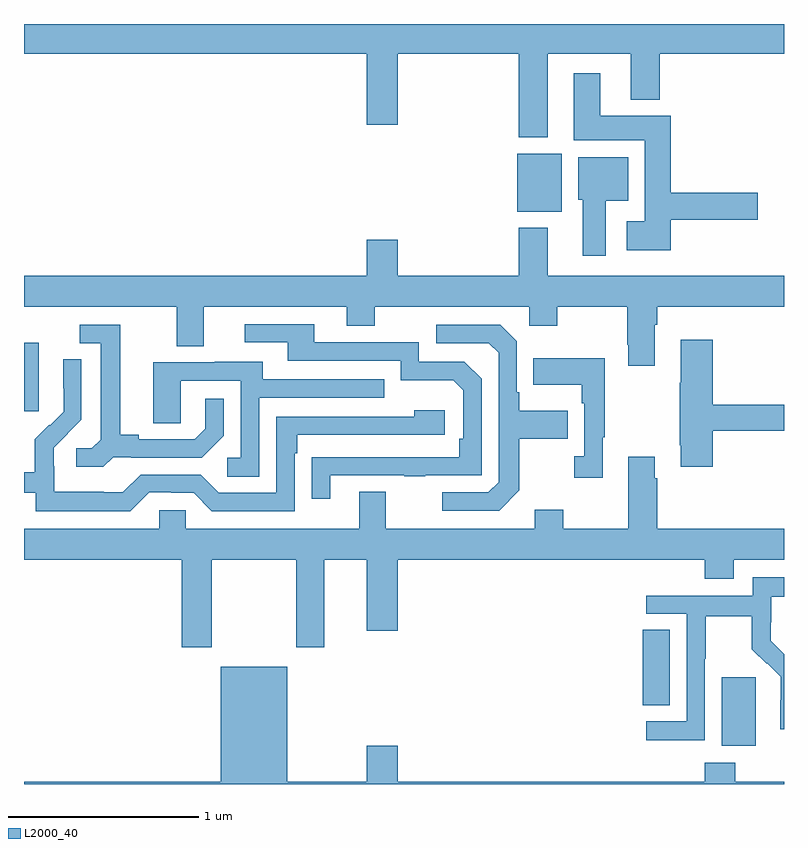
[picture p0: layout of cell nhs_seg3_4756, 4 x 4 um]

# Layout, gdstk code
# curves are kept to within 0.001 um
import gdstk
lib = gdstk.Library(unit=1e-6, precision=1e-09)
def R(c, l, rs):  # rectangles x0, y0, x1, y1
    for r in rs: c.add(gdstk.rectangle(r[:2], r[2:], *l))
def P(c, l, *ps):  # polygons
    for p in ps: c.add(gdstk.Polygon(p, *l))
L2000_40 = (2000, 40)

nhs_seg3_4756 = lib.new_cell('nhs_seg3_4756')
R(nhs_seg3_4756, L2000_40, [(370.673,702.602,370.852,702.963), (370.256,702.814,370.399,703.211), (367,704.361,367.078,704.722), (369.596,705.413,369.829,705.718)])
P(nhs_seg3_4756, L2000_40, [(369.757,706.244),(370.193,706.244),(370.193,706.001),(370.346,706.001),(370.346,706.244),(371,706.244),(371,706.4),(367,706.4),(367,706.244),(368.804,706.244),(368.804,705.87),(368.968,705.87),(368.968,706.244),(369.605,706.244),(369.605,705.803),(369.757,705.803)],
  [(370.403,705.37),(370.861,705.37),(370.861,705.512),(370.403,705.512),(370.403,705.916),(370.033,705.916),(370.033,706.141),(369.893,706.141),(369.893,705.788),(370.268,705.788),(370.268,705.361),(370.173,705.361),(370.173,705.209),(370.403,705.209)],
  [(370.063,705.47),(370.18,705.47),(370.18,705.7),(369.917,705.7),(369.917,705.474),(369.941,705.474),(369.941,705.18),(370.063,705.18)],
  [(370.321,704.816),(370.334,704.816),(370.334,704.912),(371,704.912),(371,705.076),(369.757,705.076),(369.757,705.328),(369.605,705.328),(369.605,705.076),(368.968,705.076),(368.968,705.265),(368.804,705.265),(368.804,705.076),(367,705.076),(367,704.912),(367.805,704.912),(367.805,704.704),(367.945,704.704),(367.945,704.912),(368.699,704.912),(368.699,704.813),(368.847,704.813),(368.847,704.912),(369.66,704.912),(369.66,704.813),(369.807,704.813),(369.807,704.912),(370.174,704.912),(370.174,704.713),(370.181,704.713),(370.181,704.601),(370.321,704.601)],
  [(368.611,704.025),(369.001,704.025),(369.001,704.02),(369.113,704.02),(369.113,704.025),(369.408,704.025),(369.408,704.532),(369.318,704.622),(369.078,704.622),(369.078,704.724),(368.527,704.724),(368.527,704.82),(368.163,704.82),(368.163,704.724),(368.387,704.724),(368.387,704.628),(368.982,704.628),(368.982,704.525),(369.259,704.525),(369.312,704.472),(369.312,704.218),(369.292,704.218),(369.292,704.121),(368.515,704.12),(368.515,703.902),(368.611,703.902)],
  [(369.607,703.945),(369.607,704.218),(369.863,704.218),(369.863,704.365),(369.607,704.365),(369.607,704.461),(369.594,704.461),(369.594,704.73),(369.507,704.817),(369.171,704.817),(369.171,704.721),(369.447,704.721),(369.498,704.67),(369.498,703.989),(369.444,703.935),(369.201,703.935),(369.201,703.839),(369.501,703.839)],
  [(367.47,704.121),(367.564,704.121),(367.564,704.118),(367.936,704.118),(368.052,704.234),(368.052,704.428),(367.955,704.428),(367.955,704.271),(367.898,704.214),(367.603,704.214),(367.603,704.237),(367.507,704.237),(367.507,704.817),(367.293,704.817),(367.293,704.721),(367.403,704.721),(367.403,704.213),(367.356,704.166),(367.275,704.166),(367.275,704.069),(367.418,704.069)],
  [(370.625,704.26),(371,704.26),(371,704.396),(370.625,704.396),(370.625,704.737),(370.457,704.737),(370.457,704.513),(370.45,704.513),(370.45,704.182),(370.457,704.182),(370.457,704.07),(370.625,704.07)],
  [(370.045,704.225),(370.057,704.225),(370.057,704.641),(369.679,704.641),(369.679,704.501),(369.936,704.501),(369.936,704.405),(369.948,704.405),(369.948,704.126),(369.897,704.126),(369.897,704.013),(370.045,704.013)],
  [(367.659,703.935),(367.775,703.935),(367.775,703.932),(367.893,703.932),(367.989,703.836),(368.424,703.836),(368.424,704.141),(368.437,704.141),(368.437,704.238),(369.214,704.238),(369.214,704.368),(369.053,704.368),(369.053,704.334),(368.328,704.334),(368.328,703.932),(368.025,703.932),(367.929,704.028),(367.614,704.028),(367.521,703.935),(367.421,703.935),(367.421,703.939),(367.158,703.939),(367.158,704.073),(367.156,704.073),(367.156,704.17),(367.302,704.318),(367.302,704.636),(367.206,704.636),(367.206,704.482),(367.208,704.482),(367.208,704.36),(367.137,704.289),(367.134,704.292),(367.057,704.215),(367.057,704.041),(367,704.041),(367,703.932),(367.062,703.932),(367.062,703.835),(367.559,703.835)],
  [(368.238,704.433),(368.897,704.433),(368.897,704.529),(368.257,704.529),(368.257,704.623),(368.003,704.623),(368.003,704.619),(367.679,704.619),(367.679,704.299),(367.824,704.299),(367.824,704.523),(368.142,704.523),(368.142,704.118),(368.07,704.118),(368.07,704.017),(368.238,704.017)],
  [(367.989,703.58),(368.434,703.58),(368.434,703.119),(368.581,703.119),(368.581,703.58),(368.804,703.58),(368.804,703.206),(368.968,703.206),(368.968,703.58),(370.583,703.58),(370.583,703.481),(370.735,703.481),(370.735,703.58),(371,703.58),(371,703.744),(370.334,703.744),(370.334,704.009),(370.321,704.009),(370.321,704.122),(370.181,704.122),(370.181,703.744),(369.837,703.744),(369.837,703.843),(369.689,703.843),(369.689,703.744),(368.905,703.744),(368.905,703.939),(368.765,703.939),(368.765,703.744),(367.851,703.744),(367.851,703.842),(367.713,703.842),(367.713,703.744),(367,703.744),(367,703.58),(367.829,703.58),(367.829,703.119),(367.989,703.119)],
  [(370.584,703.06),(370.587,703.06),(370.587,703.284),(370.831,703.284),(370.831,703.109),(370.908,703.032),(370.911,703.035),(370.982,702.965),(370.982,702.842),(370.98,702.842),(370.98,702.688),(371,702.688),(371,703.084),(370.93,703.154),(370.93,703.251),(370.932,703.251),(370.932,703.385),(371,703.385),(371,703.489),(370.836,703.489),(370.836,703.392),(370.275,703.392),(370.275,703.296),(370.488,703.296),(370.488,702.729),(370.275,702.729),(370.275,702.631),(370.584,702.631)],
  [(371,702.412),(370.743,702.412),(370.743,702.511),(370.583,702.511),(370.583,702.412),(368.968,702.412),(368.968,702.601),(368.804,702.601),(368.804,702.412),(368.386,702.412),(368.386,703.018),(368.036,703.018),(368.036,702.412),(367,702.412),(367,702.4),(371,702.4)])

lib.write_gds('nhs_seg3_4756.gds')
